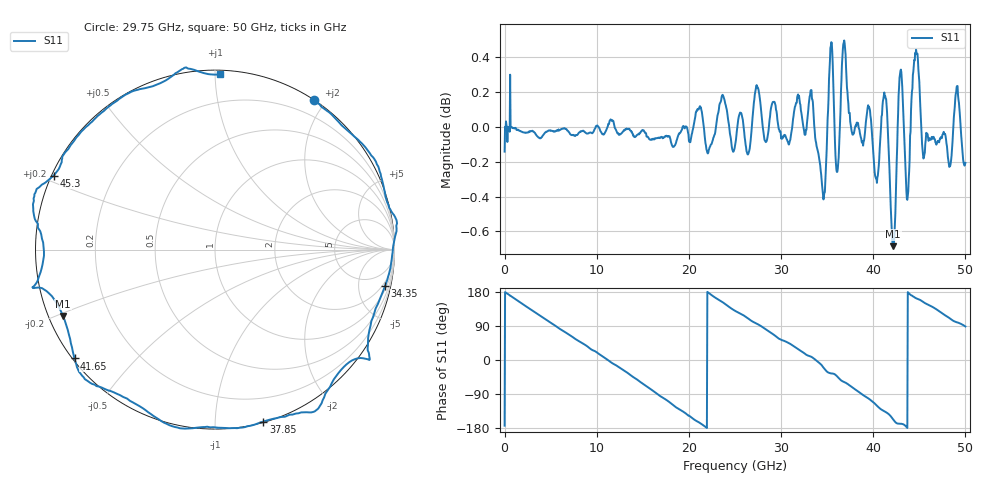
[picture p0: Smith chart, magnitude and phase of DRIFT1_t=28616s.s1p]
!Created with skrf (http://scikit-rf.org).
# Hz S RI R 50.0
!freq ReS11 ImS11
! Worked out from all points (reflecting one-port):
!   1001 points, 300 kHz to 50 GHz, reference 50 ohm
!   lowest |S11| = -0.7 dB at 42.15 GHz (marker M1), VSWR 25.39, Z = 2.05 - j10.4 ohm
!   phase of S11 starts at -173 deg and turns -818 deg over the sweep
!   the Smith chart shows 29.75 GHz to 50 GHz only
!   S11 on the Smith chart (normalised r, x): 29.75 GHz: 0.00, +1.86; 34.35 GHz: 1.36, -9.19; 37.85 GHz: 0.01, -1.32; 41.65 GHz: 0.01, -0.34; 45.3 GHz: 0.01, +0.22; 50 GHz: 0.02, +1.03
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300000  -0.9774 -0.1128
1.450291e9  -0.9125 0.4049
3.25028e9  -0.5919 0.8014
6.250262e9  0.2018 0.9783
9.500243e9  0.8921 0.4427
1.250022e10  0.9319 -0.3491
1.580021e10  0.238 -0.9626
1.73502e10  -0.2105 -0.9707
1.875019e10  -0.5981 -0.7926
2.150017e10  -0.9938 -0.1535
2.350016e10  -0.9233 0.4285
2.500015e10  -0.6325 0.7587
2.740014e10  -0.0952 1.022
2.975012e10  0.5512 0.8327
3.125011e10  0.7873 0.621
3.31501e10  1.006 0.1747
3.435009e10  0.9475 -0.2042
3.520009e10  0.8569 -0.5751
3.750008e10  0.372 -0.9322
3.785007e10  0.2693 -0.9586
3.960006e10  -0.2389 -0.9837
4.165005e10  -0.7828 -0.6067
4.215005e10  -0.8467 -0.3705
4.290004e10  -1.013 -0.2129
4.375004e10  -0.9555 0.0147
4.530003e10  -0.8985 0.4127
4.770001e10  -0.4889 0.8676
5e10  0.0257 0.9763
